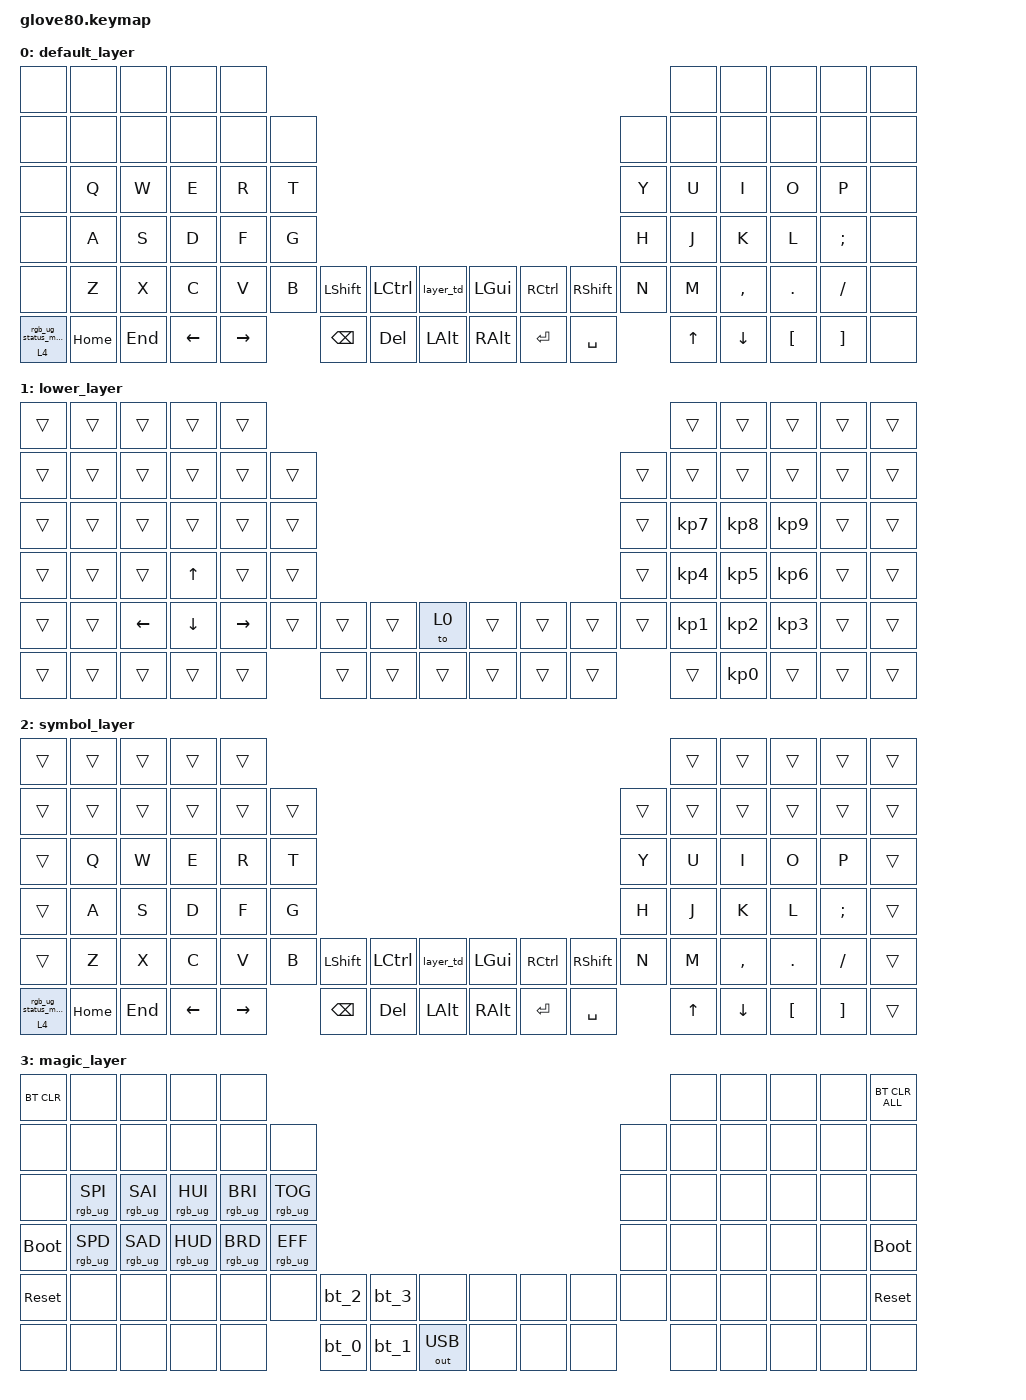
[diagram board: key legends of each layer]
/*
 * Copyright (c) 2020 The ZMK Contributors
 *
 * SPDX-License-Identifier: MIT
 */

#include <behaviors.dtsi>
#include <dt-bindings/zmk/bt.h>
#include <dt-bindings/zmk/keys.h>
#include <dt-bindings/zmk/outputs.h>
#include <dt-bindings/zmk/rgb.h>

#define HYPER LC(LS(LG(LALT)))

// layers

#define DEFAULT 0
#define LOWER 1
#define MAGIC 2
#define FACTORY_TEST 3

/ {
    behaviors {
        // For the "layer" key, it'd nice to be able to use it as either a shift or a toggle.
        // Configure it as a tap dance, so the first tap (or hold) is a &mo and the second tap is a &to

        layer_td: tap_dance_0 {
            compatible = "zmk,behavior-tap-dance";
            label = "LAYER_TAP_DANCE";
            #binding-cells = <0>;
            tapping-term-ms = <200>;
            bindings = <&mo 1>, <&to 1>;
        };

        magic: magic_hold_tap {
            compatible = "zmk,behavior-hold-tap";
            label = "MAGIC_HOLD_TAP";
            #binding-cells = <2>;
            flavor = "tap-preferred";
            tapping-term-ms = <200>;
            bindings = <&mo>, <&rgb_ug_status_macro>;
        };
    };

    macros {
        rgb_ug_status_macro: rgb_ug_status_macro_0 {
            label = "RGB_UG_STATUS";
            compatible = "zmk,behavior-macro";
            #binding-cells = <0>;
            bindings = <&rgb_ug RGB_STATUS>;
        };

        bt_0: bt_profile_macro_0 {
            label = "BT_0";
            compatible = "zmk,behavior-macro";
            #binding-cells = <0>;
            bindings = <&out OUT_BLE &bt BT_SEL 0>;
        };

        bt_1: bt_profile_macro_1 {
            label = "BT_1";
            compatible = "zmk,behavior-macro";
            #binding-cells = <0>;
            bindings = <&out OUT_BLE &bt BT_SEL 1>;
        };

        bt_2: bt_profile_macro_2 {
            label = "BT_2";
            compatible = "zmk,behavior-macro";
            #binding-cells = <0>;
            bindings = <&out OUT_BLE &bt BT_SEL 2>;
        };

        bt_3: bt_profile_macro_3 {
            label = "BT_3";
            compatible = "zmk,behavior-macro";
            #binding-cells = <0>;
            bindings = <&out OUT_BLE &bt BT_SEL 3>;
        };
    };

    keymap {
        compatible = "zmk,keymap";

        default_layer {
            // ---------------------------------------------------------------------------------------------------------------------------------
            // |  F1   |  F2 |  F3 |  F4  |  F5  |                                                               |  F6   |  F7   |  F8  |   F9  |  F10 |
            // |  =    |  1  |  2  |  3   |  4   |  5   |                                                 |  6   |   7   |   8   |  9   |   0   |   -  |
            // |  TAB  |  Q  |  W  |  E   |  R   |  T   |                                                 |  Y   |   U   |   I   |  O   |   P   |   \  |
            // |  ESC  |  A  |  S  |  D   |  F   |  G   |                                                 |  H   |   J   |   K   |  L   |   ;   |   '  |
            // |   `   |  Z  |  X  |  C   |  V   |  B   | LSHFT | LCTRL | LOWER | | LGUI  | RCTRL | RSHFT |  N   |   M   |   ,   |  .   |   /   | PGUP |
            // | MAGIC | HOME| END | LEFT | RIGHT|      | BSPC  | DEL   | LALT  | | RALT  | RET   | SPACE |      |  UP   | DOWN  |  [   |   ]   | PGDN |

            bindings = <
&none       &none     &none    &none     &none                                                                                     &none   &none      &none     &none     &none
&none       &none     &none    &none     &none      &none                                                                   &none  &none   &none      &none     &none     &none
&none       &kp Q     &kp W    &kp E     &kp R      &kp T                                                                   &kp Y  &kp U   &kp I      &kp O     &kp P     &none
&none       &kp A     &kp S    &kp D     &kp F      &kp G                                                                   &kp H  &kp J   &kp K      &kp L     &kp SEMI  &none
&none       &kp Z     &kp X    &kp C     &kp V      &kp B  &kp LSHFT  &kp LCTRL  &layer_td  &kp LGUI  &kp RCTRL  &kp RSHFT  &kp N  &kp M   &kp COMMA  &kp DOT   &kp FSLH  &none
&magic 4 0  &kp HOME  &kp END  &kp LEFT  &kp RIGHT         &kp BSPC   &kp DEL    &kp LALT   &kp RALT  &kp RET    &kp SPACE         &kp UP  &kp DOWN   &kp LBKT  &kp RBKT  &none
            >;
        };

        lower_layer {
            bindings = <
&trans  &trans  &trans          &trans        &trans                                                                           &trans     &trans     &trans     &trans  &trans
&trans  &trans  &trans          &trans        &trans           &trans                                                  &trans  &trans     &trans     &trans     &trans  &trans
&trans  &trans  &trans          &trans        &trans           &trans                                                  &trans  &kp KP_N7  &kp KP_N8  &kp KP_N9  &trans  &trans
&trans  &trans  &trans          &kp UP_ARROW  &trans           &trans                                                  &trans  &kp KP_N4  &kp KP_N5  &kp KP_N6  &trans  &trans
&trans  &trans  &kp LEFT_ARROW  &kp DOWN      &kp RIGHT_ARROW  &trans  &trans  &trans  &to 0   &trans  &trans  &trans  &trans  &kp KP_N1  &kp KP_N2  &kp KP_N3  &trans  &trans
&trans  &trans  &trans          &trans        &trans                   &trans  &trans  &trans  &trans  &trans  &trans          &trans     &kp KP_N0  &trans     &trans  &trans
            >;
        };

        symbol_layer {
            bindings = <
&trans      &trans    &trans   &trans    &trans                                                                                      &trans  &trans     &trans    &trans    &trans
&trans      &trans    &trans   &trans    &trans     &trans                                                                   &trans  &trans  &trans     &trans    &trans    &trans
&trans      &kp Q     &kp W    &kp E     &kp R      &kp T                                                                    &kp Y   &kp U   &kp I      &kp O     &kp P     &trans
&trans      &kp A     &kp S    &kp D     &kp F      &kp G                                                                    &kp H   &kp J   &kp K      &kp L     &kp SEMI  &trans
&trans      &kp Z     &kp X    &kp C     &kp V      &kp B   &kp LSHFT  &kp LCTRL  &layer_td  &kp LGUI  &kp RCTRL  &kp RSHFT  &kp N   &kp M   &kp COMMA  &kp DOT   &kp FSLH  &trans
&magic 4 0  &kp HOME  &kp END  &kp LEFT  &kp RIGHT          &kp BSPC   &kp DEL    &kp LALT   &kp RALT  &kp RET    &kp SPACE          &kp UP  &kp DOWN   &kp LBKT  &kp RBKT  &trans
            >;
        };

        magic_layer {
            bindings = <
&bt BT_CLR   &none            &none            &none            &none                                                                                     &none  &none  &none  &none  &bt BT_CLR_ALL
&none        &none            &none            &none            &none            &none                                                             &none  &none  &none  &none  &none  &none
&none        &rgb_ug RGB_SPI  &rgb_ug RGB_SAI  &rgb_ug RGB_HUI  &rgb_ug RGB_BRI  &rgb_ug RGB_TOG                                                   &none  &none  &none  &none  &none  &none
&bootloader  &rgb_ug RGB_SPD  &rgb_ug RGB_SAD  &rgb_ug RGB_HUD  &rgb_ug RGB_BRD  &rgb_ug RGB_EFF                                                   &none  &none  &none  &none  &none  &bootloader
&sys_reset   &none            &none            &none            &none            &none            &bt_2  &bt_3  &none         &none  &none  &none  &none  &none  &none  &none  &none  &sys_reset
&none        &none            &none            &none            &none                             &bt_0  &bt_1  &out OUT_USB  &none  &none  &none         &none  &none  &none  &none  &none
            >;
        };
    };
};
